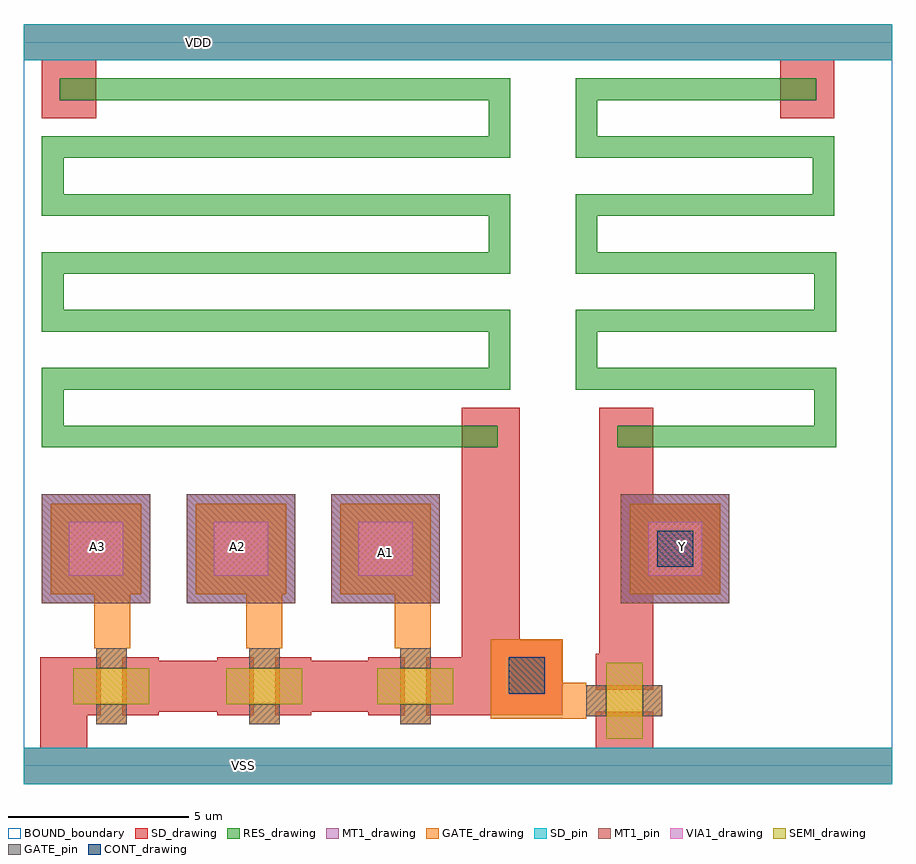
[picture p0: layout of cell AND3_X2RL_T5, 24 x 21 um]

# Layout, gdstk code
from math import pi, radians
import gdstk
lib = gdstk.Library(unit=1e-6, precision=1e-09)
def R(c, l, rs):  # rectangles x0, y0, x1, y1
    for r in rs: c.add(gdstk.rectangle(r[:2], r[2:], *l))
def A(c, l, x, y, w, h, nx, ny, dx, dy):  # array of equal rectangles
    R(c, l, [(x+i*dx, y+j*dy, x+i*dx+w, y+j*dy+h) for i in range(nx) for j in range(ny)])
def P(c, l, *ps):  # polygons
    for p in ps: c.add(gdstk.Polygon(p, *l))
RES_drawing = (1, 0)
SEMI_drawing = (3, 0)
SD_drawing = (10, 0)
SD_pin = (10, 3)
GATE_drawing = (11, 0)
GATE_pin = (11, 3)
MT1_drawing = (20, 0)
MT1_pin = (20, 3)
CONT_drawing = (30, 0)
VIA1_drawing = (41, 0)
BOUND_boundary = (150, 5)

nch_cdns_772544863170 = lib.new_cell('nch_CDNS_772544863170')
R(nch_cdns_772544863170, SEMI_drawing, [(-1.05,-0.5,1.05,0.5)])
R(nch_cdns_772544863170, SD_drawing, [(-1.3,-0.8,-0.3,0.8), (0.3,-0.8,1.3,0.8)])
R(nch_cdns_772544863170, GATE_drawing, [(-0.425,-1.05,0.425,1.05)])
R(nch_cdns_772544863170, GATE_pin, [(-0.425,-1.05,0.425,-0.5), (-0.425,0.5,0.425,1.05)])

gate_mt1_cdns_7725448631 = lib.new_cell('GATE_MT1_CDNS_772544863170')
R(gate_mt1_cdns_7725448631, GATE_drawing, [(-1.25,-1.25,1.25,1.25)])
R(gate_mt1_cdns_7725448631, MT1_drawing, [(-1.25,-1.25,1.25,1.25)])
R(gate_mt1_cdns_7725448631, VIA1_drawing, [(-0.75,-0.75,0.75,0.75)])

sd_gate_cdns_77254486317 = lib.new_cell('SD_GATE_CDNS_772544863171')
R(sd_gate_cdns_77254486317, SD_drawing, [(-1,-1,1,1)])
R(sd_gate_cdns_77254486317, GATE_drawing, [(-1,-1,1,1)])
R(sd_gate_cdns_77254486317, CONT_drawing, [(-0.5,-0.5,0.5,0.5)])

c_sd_gate_cdns_77254486317 = lib.new_cell('SD_GATE_CDNS_772544863172')
R(c_sd_gate_cdns_77254486317, SD_drawing, [(-1.25,-1.25,1.25,1.25)])
R(c_sd_gate_cdns_77254486317, GATE_drawing, [(-1.25,-1.25,1.25,1.25)])
R(c_sd_gate_cdns_77254486317, CONT_drawing, [(-0.5,-0.5,0.5,0.5)])

and3_x2rl_t5 = lib.new_cell('AND3_X2RL_T5')
R(and3_x2rl_t5, SD_drawing, [(0,-0.5,24,0.5), (0.45,0.5,1.75,3), (12.1,8.3,13.7,9.9), (15.9,8.3,17.4,9.9), (0.5,17.9,2,19.5), (20.9,17.9,22.4,19.5), (0,19.5,24,20.5)])
R(and3_x2rl_t5, SD_pin, [(0,-0.5,24,0.5), (0,19.5,24,20.5)])
P(and3_x2rl_t5, GATE_drawing, [(11.25,3.425),(10.25,3.425),(10.25,3.25),(10.45,3.25),(10.45,3.2),(11.2,3.2),(11.2,3.25),(11.25,3.25)],
  [(15.375,2.3),(15.375,1.3),(15.55,1.3),(15.55,1.425),(15.6,1.425),(15.6,2.175),(15.55,2.175),(15.55,2.3)],
  [(2.95,3.425),(1.95,3.425),(1.95,3.25),(2.05,3.25),(2.05,3.2),(2.8,3.2),(2.8,3.25),(2.95,3.25)],
  [(7.15,3.425),(6.15,3.425),(6.15,3.25),(6.275,3.25),(6.275,3.2),(7.025,3.2),(7.025,3.25),(7.15,3.25)])
A(and3_x2rl_t5, MT1_drawing, 0.5, 4.5, 3, 3, 3, 1, 4, 0)
R(and3_x2rl_t5, MT1_drawing, [(16.5,4.5,19.5,7.5)])
A(and3_x2rl_t5, MT1_pin, 0.5, 4.5, 3, 3, 3, 1, 4, 0)
R(and3_x2rl_t5, MT1_pin, [(16.5,4.5,19.5,7.5)])
R(and3_x2rl_t5, BOUND_boundary, [(0,0,24,20)])
and3_x2rl_t5.add(gdstk.FlexPath([(10.75,3.425),(10.75,4.75)], 1, ends="flush", simple_path=True, layer=11, datatype=0))  # GATE_drawing
and3_x2rl_t5.add(gdstk.FlexPath([(15.375,1.8),(12.9,1.8)], 1, ends="flush", simple_path=True, layer=11, datatype=0))  # GATE_drawing
and3_x2rl_t5.add(gdstk.FlexPath([(6.65,3.425),(6.65,4.75)], 1, ends="flush", simple_path=True, layer=11, datatype=0))  # GATE_drawing
and3_x2rl_t5.add(gdstk.FlexPath([(2.45,3.425),(2.45,4.75)], 1, ends="flush", simple_path=True, layer=11, datatype=0))  # GATE_drawing
and3_x2rl_t5.add(gdstk.FlexPath([(16.65,3.1),(16.65,8.3)], 1.5, ends="flush", simple_path=True, layer=10, datatype=0))  # SD_drawing
and3_x2rl_t5.add(gdstk.FlexPath([(12.125,2.2),(14.9,2.2)], 1.6, ends="flush", simple_path=True, layer=10, datatype=0))  # SD_drawing
and3_x2rl_t5.add(gdstk.FlexPath([(3.725,2.2),(5.35,2.2)], 1.4, ends="flush", simple_path=True, layer=10, datatype=0))  # SD_drawing
and3_x2rl_t5.add(gdstk.FlexPath([(7.95,2.2),(9.525,2.2)], 1.4, ends="flush", simple_path=True, layer=10, datatype=0))  # SD_drawing
and3_x2rl_t5.add(gdstk.FlexPath([(12.9,2.2),(12.9,8.3)], 1.6, ends="flush", simple_path=True, layer=10, datatype=0))  # SD_drawing
and3_x2rl_t5.add(gdstk.FlexPath([(13.1,9.1),(0.8,9.1),(0.8,10.7),(13.15,10.7),(13.15,12.3),(0.8,12.3),(0.8,13.9),(13.15,13.9),(13.15,15.5),(0.8,15.5),(0.8,17.1),(13.15,17.1),(13.15,18.7),(1,18.7)], 0.6, ends="flush", simple_path=True, layer=1, datatype=0))  # RES_drawing
and3_x2rl_t5.add(gdstk.FlexPath([(20.9,18.7),(15.55,18.7),(15.55,17.1),(22.1,17.1),(22.1,15.5),(15.55,15.5),(15.55,13.9),(22.15,13.9),(22.15,12.3),(15.55,12.3),(15.55,10.7),(22.15,10.7),(22.15,9.1),(16.4,9.1)], 0.6, ends=(1, 0), simple_path=True, layer=1, datatype=0))  # RES_drawing
and3_x2rl_t5.add(gdstk.Reference(nch_cdns_772544863170, (2.425,2.2)))
and3_x2rl_t5.add(gdstk.Reference(nch_cdns_772544863170, (16.6,1.8), rotation=pi/2))
and3_x2rl_t5.add(gdstk.Reference(nch_cdns_772544863170, (10.825,2.2)))
and3_x2rl_t5.add(gdstk.Reference(nch_cdns_772544863170, (6.65,2.2)))
and3_x2rl_t5.add(gdstk.Reference(gate_mt1_cdns_7725448631, (2,6)))
and3_x2rl_t5.add(gdstk.Reference(gate_mt1_cdns_7725448631, (18,6)))
and3_x2rl_t5.add(gdstk.Reference(gate_mt1_cdns_7725448631, (10,6)))
and3_x2rl_t5.add(gdstk.Reference(gate_mt1_cdns_7725448631, (6,6)))
and3_x2rl_t5.add(gdstk.Reference(sd_gate_cdns_77254486317, (13.9,2.5)))
and3_x2rl_t5.add(gdstk.Reference(c_sd_gate_cdns_77254486317, (18,6)))
and3_x2rl_t5.add(gdstk.Label('VDD', (4.825,20), layer=10, texttype=3))
and3_x2rl_t5.add(gdstk.Label('VSS', (6.075,0), layer=10, texttype=3))
and3_x2rl_t5.add(gdstk.Label('Y', (18.2,6.05), layer=20, texttype=3))
and3_x2rl_t5.add(gdstk.Label('A2', (5.9,6.05), layer=20, texttype=3))
and3_x2rl_t5.add(gdstk.Label('A1', (10,5.9), layer=20, texttype=3))
and3_x2rl_t5.add(gdstk.Label('A3', (2.025,6.05), layer=20, texttype=3))

lib.write_gds('AND3_X2RL_T5.gds')
